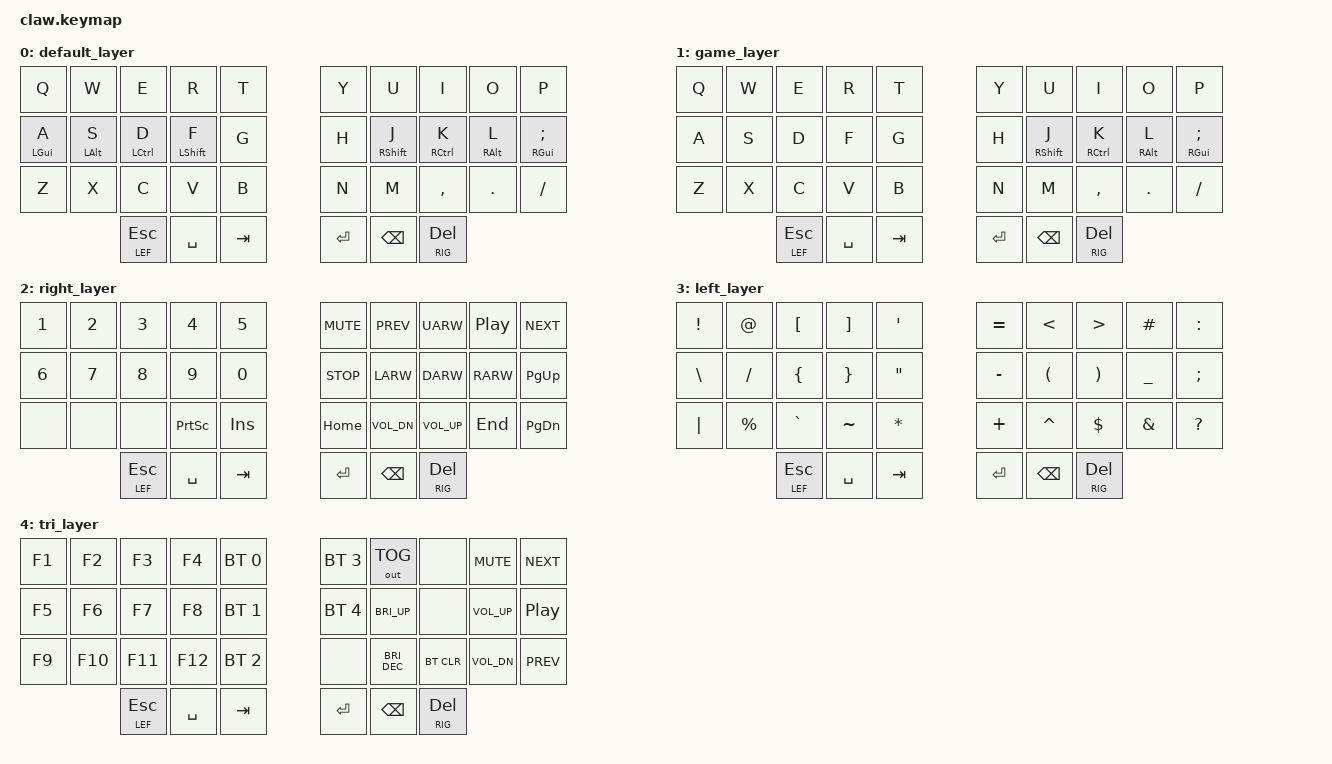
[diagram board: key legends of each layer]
#include <behaviors.dtsi>
#include <dt-bindings/zmk/keys.h>
#include <dt-bindings/zmk/bt.h>
#include <dt-bindings/zmk/outputs.h>

// Home row mods macro
#define HRMR(k1, k2, k3, k4) &mt RSHIFT k1  &mt RCTRL k2  &mt RALT k3 &mt RGUI k4

// Reorder layers
#define DEFAULT 0
#define GAME 1
#define RIG 2
#define LEF 3
#define TRI 4

/ {

	 combos {
        	compatible = "zmk,combos";
		// In gamemode toggle a layer that has the leftside a normal alpha-numerical keyboard
        	combo_gamemode {
            		timeout-ms = <150>;
            		key-positions = <0 1 8 9>;
            		bindings = <&tog GAME>;
        	};
    };

	behaviors {
		ht: hold_tap_balanced {
			    compatible = "zmk,behavior-hold-tap";
			    #label = "HOLD_TAP_BAL";
			    #binding-cells = <2>;
			    flavor = "tap-preferred";
			    tapping-term-ms = <200>;
			    quick-tap-ms = <100>;
			    #require-prior-idle-ms = <50>;
			    bindings = <&kp>, <&kp>;
			};

	};

	conditional_layers {
		compatible = "zmk,conditional-layers";
		tri_layer {
			if-layers = <RIG LEF>;
			then-layer = <TRI>;
		};
	};

	keymap {
		compatible = "zmk,keymap";
		default_layer {
			bindings = <

	&kp Q		&kp W		&kp E		&kp R		&kp T		&kp Y		&kp U		&kp I		&kp O		&kp P
	&ht LGUI A 	&ht LALT S 	&ht LCTRL D 	&ht LSHIFT F	&kp G		&kp H		&ht RSHIFT J	&ht RCTRL K	&ht RALT L	&ht RGUI SEMI
	&kp Z		&kp X		&kp C		&kp V		&kp B		&kp N		&kp M		&kp COMMA	&kp DOT		&kp FSLH
					&lt LEF ESC	&kp SPACE	&kp TAB		&kp ENTER	&kp BSPC	&lt RIG DEL
				>;
		};

		game_layer {
			bindings = <

	&kp Q		&kp W		&kp E		&kp R		&kp T		&kp Y		&kp U		&kp I		&kp O		&kp P
	&kp A 	&kp S 	&kp D 	&kp F	&kp G		&kp H		&ht RSHIFT J	&ht RCTRL K	&ht RALT L	&ht RGUI SEMI
	&kp Z		&kp X		&kp C		&kp V		&kp B		&kp N		&kp M		&kp COMMA	&kp DOT		&kp FSLH
					&lt LEF ESC	&kp SPACE	&kp TAB		&kp ENTER	&kp BSPC	&lt RIG DEL
				>;
		};

		right_layer {
			bindings = <
	&kp N1	&kp N2	&kp N3		&kp N4		&kp N5		&kp C_MUTE	&kp C_PREV	&kp UARW	&kp C_PP	&kp C_NEXT
	&kp N6	&kp N7	&kp N8		&kp N9		&kp N0		&kp C_STOP	&kp LARW	&kp DARW	&kp RARW	&kp PG_UP
	&none	&none	&none		&kp PSCRN	&kp INS		&kp HOME	&kp C_VOL_DN	&kp C_VOL_UP	&kp END		&kp PG_DN
			&lt LEF ESC	&kp SPACE	&kp TAB		&kp ENTER	&kp BSPC	&lt RIG DEL
				>;
		};

		left_layer {
			bindings = <
	&kp EXCL	&kp AT		&kp LBKT	&kp RBKT	&kp SQT		&kp EQUAL	&kp LT		&kp GT		&kp HASH	&kp COLON
	&kp BSLH	&kp FSLH	&kp LBRC	&kp RBRC	&kp DQT		&kp MINUS	&kp LPAR	&kp RPAR	&kp UNDER	&kp SEMI
	&kp PIPE	&kp PRCNT	&kp GRAVE	&kp TILDE	&kp ASTRK	&kp PLUS	&kp CARET	&kp DLLR	&kp AMPS	&kp QMARK
					&lt LEF ESC	&kp SPACE	&kp TAB		&kp ENTER	&kp BSPC	&lt RIG DEL
				>;
		};

		tri_layer {
			bindings = <
	&kp F1		&kp F2		&kp F3		&kp F4		&bt BT_SEL 0		&bt BT_SEL 3	&out OUT_TOG	&none	&kp C_MUTE	&kp C_NEXT
	&kp F5		&kp F6		&kp F7		&kp F8		&bt BT_SEL 1		&bt BT_SEL 4	&kp C_BRI_UP	&none	&kp C_VOL_UP	&kp C_PP
	&kp F9		&kp F10		&kp F11		&kp F12		&bt BT_SEL 2		&none		&kp C_BRI_DEC	&bt BT_CLR	&kp C_VOL_DN	&kp C_PREV
					&lt LEF ESC	&kp SPACE	&kp TAB			&kp ENTER	&kp BSPC	&lt RIG DEL
				>;
		};

	};
};
